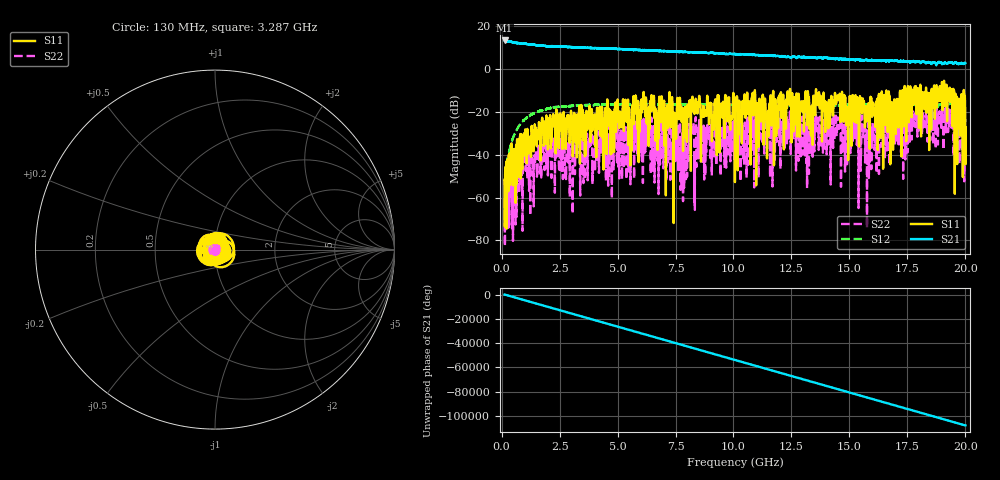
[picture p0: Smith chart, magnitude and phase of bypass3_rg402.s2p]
!Created with skrf (http://scikit-rf.org).
# GHz S RI R 50.0
!freq ReS11 ImS11 ReS21 ImS21 ReS12 ImS12 ReS22 ImS22
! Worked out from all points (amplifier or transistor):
!   20013 points, 130 MHz to 20 GHz, reference 50 ohm
!   highest |S21| = 13.5 dB at 131 MHz (marker M1)
!   |S21| within 3 dB of that: start of sweep to 2.796 GHz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
!   unconditionally stable (mu >= 1): start of sweep to end of sweep
!   at 3.465 GHz: K = 1.30, MAG = 10.2 dB, |S12| = -16.8 dB
!   at 10.14 GHz: K = 1.61, MAG = 7.3 dB, |S12| = -16.7 dB
!   at 20 GHz: K = 2.41, MAG = 2.9 dB, |S12| = -16.2 dB
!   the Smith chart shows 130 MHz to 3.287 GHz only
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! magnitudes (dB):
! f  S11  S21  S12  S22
! 130 MHz  -51.7  13.5  -53.5  -60.5
! 131 MHz  -52.3  13.5  -53.6  -60.6
! 466 MHz  -40.9  12.7  -32.9  -49.6
! 960 MHz  -35.1  11.9  -23.8  -40.8
! 3.442 GHz  -16.9  10.1  -16.9  -30.0
! 5.315 GHz  -19.0  9.3  -16.5  -32.3
! 5.566 GHz  -27.4  9.1  -16.6  -37.1
! 6.135 GHz  -12.5  8.9  -16.4  -24.9
! 6.754 GHz  -20.7  8.6  -16.4  -31.3
! 7.915 GHz  -17.6  8.1  -16.5  -29.6
! 8.183 GHz  -14.6  7.9  -16.5  -28.2
! 10.06 GHz  -29.6  7.1  -16.7  -35.3
! 10.27 GHz  -21.1  7.0  -16.5  -26.0
! 10.86 GHz  -21.3  6.8  -16.6  -27.2
! 11.48 GHz  -26.9  6.4  -16.8  -30.7
! 12.37 GHz  -13.3  5.9  -16.7  -32.0
! 13.38 GHz  -26.3  5.6  -16.4  -31.6
! 13.63 GHz  -14.1  5.1  -16.8  -22.1
! 15.77 GHz  -22.5  4.3  -16.6  -34.8
! 16.69 GHz  -10.5  3.8  -16.8  -21.9
! 19.08 GHz  -5.4  2.8  -16.7  -18.4
! 20 GHz  -27.1  2.8  -16.2  -23.3
